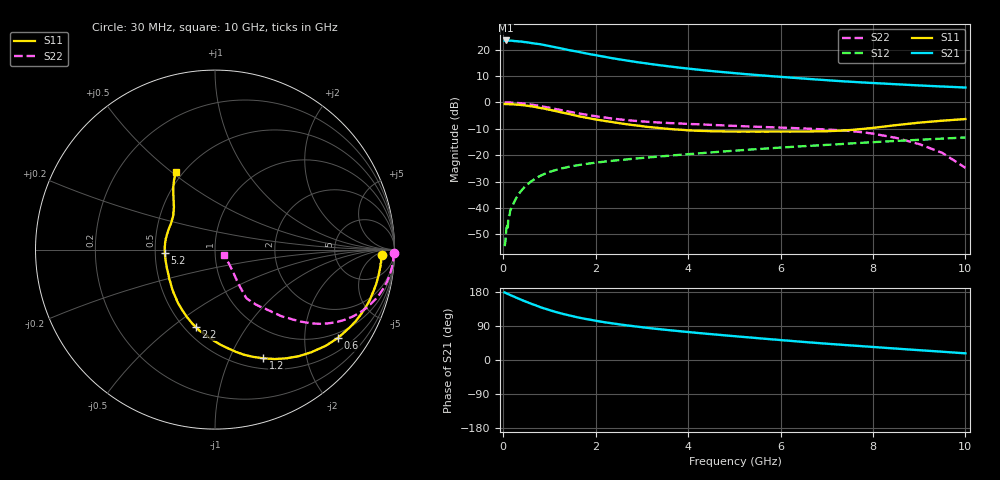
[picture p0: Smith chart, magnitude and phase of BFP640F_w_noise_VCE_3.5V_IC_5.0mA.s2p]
! Infineon Technologies  Discrete & RF Semiconductors
! BFP640F
! VCE =  3.5 V,  IC =  5.0 mA
! Common Emitter S-Parameters:  Apr 2013
# GHz  S  MA  R  50
!  f  S11  S21  S12  S22
! GHz  MAG  ANG  MAG  ANG  MAG  ANG  MAG  ANG
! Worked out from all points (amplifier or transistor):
!   99 points, 30 MHz to 10 GHz, reference 50 ohm
!   highest |S21| = 23.4 dB at 50 MHz (marker M1)
!   |S21| within 3 dB of that: start of sweep to 1.249 GHz
!   unconditionally stable (mu >= 1): 4.178 GHz to end of sweep
!   at 350 MHz: K = 0.10, MSG = 28.7 dB, |S12| = -34.3 dB
!   at 3.5 GHz: K = 0.93, MSG = 17.1 dB, |S12| = -20.3 dB
!   at 10 GHz: K = 1.11, MAG = 7.4 dB, |S12| = -13.3 dB
!   lowest NFmin = 0.52 dB at 450 MHz
!   S11 on the Smith chart (normalised r, x): 30 MHz: 23, -10; 600 MHz: 0.85, -2.89; 1.2 GHz: 0.62, -1.35; 2.2 GHz: 0.57, -0.61; 5.2 GHz: 0.56, -0.02; 10 GHz: 0.46, +0.52
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0.03  0.9298 -1.8  14.7 178.1  0.0019 90.2  0.9961 -1.0
0.04  0.9295 -2.5  14.63 177.6  0.0021 77.0  0.9953 -1.4
0.05  0.9279 -3.2  14.83 177.2  0.0025 79.7  0.9967 -1.7
0.07  0.9287 -4.4  14.78 175.9  0.0042 91.0  0.9957 -2.4
0.1  0.9255 -6.1  14.81 174.4  0.0043 90.8  0.9946 -3.6
0.15  0.9222 -9.2  14.74 171.6  0.0089 84.0  0.9913 -5.4
0.4  0.8886 -24.2  14.12 158.4  0.0217 78.0  0.9561 -14.1
0.6  0.8441 -35.6  13.3 148.7  0.0317 73.0  0.9093 -20.5
0.8  0.7843 -46.8  12.6 139.6  0.0407 67.5  0.8523 -26.0
1  0.7248 -56.7  11.63 131.7  0.0482 63.1  0.7902 -30.7
1.2  0.6628 -66.0  10.72 124.6  0.0545 59.4  0.7288 -34.6
1.4  0.6089 -74.4  9.833 118.5  0.0598 56.3  0.6743 -37.5
1.7  0.5322 -86.4  8.759 110.3  0.0664 53.0  0.6035 -40.9
2.2  0.4445 -104.0  7.267 99.5  0.0759 49.4  0.5166 -45.4
2.7  0.3828 -118.6  6.132 91.0  0.0837 47.0  0.4588 -48.1
3.4  0.3256 -136.9  5.025 81.1  0.0949 45.5  0.4134 -51.0
4.3  0.2884 -157.4  4.081 70.4  0.1095 43.6  0.3815 -53.3
5.1  0.2797 -174.2  3.515 61.8  0.1233 41.7  0.3568 -55.0
5.2  0.2804 -176.0  3.449 60.8  0.1251 41.5  0.353 -55.1
6.7  0.2819 155.8  2.739 45.8  0.1514 36.9  0.3152 -57.1
8.5  0.3708 128.6  2.202 30.1  0.1862 30.6  0.2127 -54.8
10  0.4831 116.9  1.91 17.6  0.2166 24.1  0.0577 -32.9
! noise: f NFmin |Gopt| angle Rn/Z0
0.45  0.52  0.39  9  0.12
0.9  0.54  0.39  20  0.12
1.5  0.58  0.37  28  0.13
1.9  0.6  0.35  43  0.13
2.4  0.65  0.32  59  0.14
3.5  0.75  0.26  79  0.15
5.5  0.99  0.21  151  0.17
10  1.71  0.44  -104  0.36
